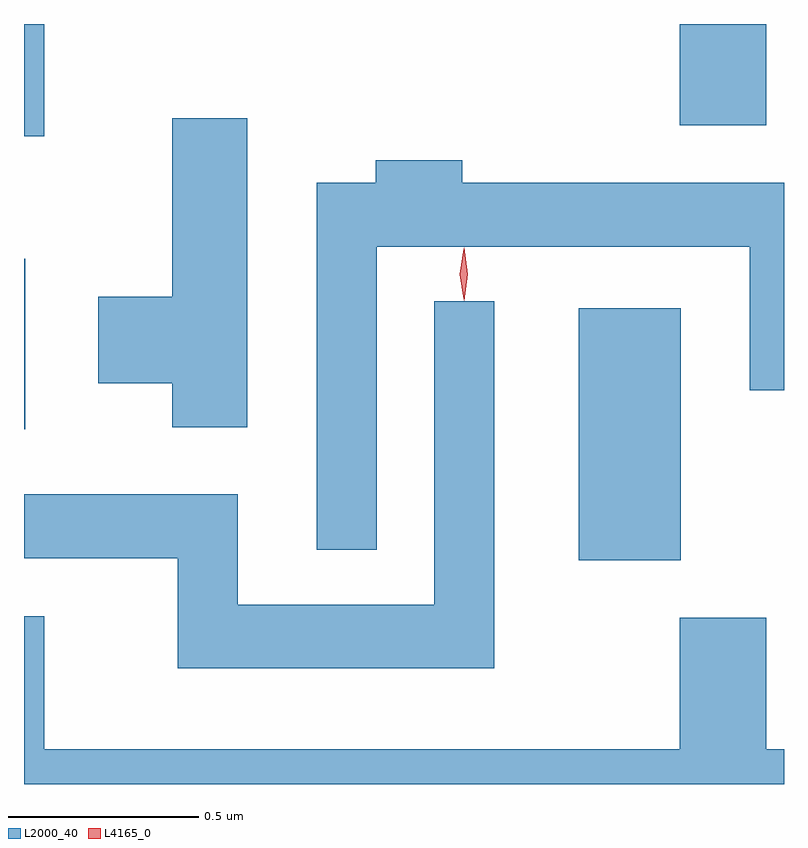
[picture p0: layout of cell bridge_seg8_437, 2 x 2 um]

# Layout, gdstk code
import gdstk
lib = gdstk.Library(unit=1e-6, precision=1e-09)
def R(c, l, rs):  # rectangles x0, y0, x1, y1
    for r in rs: c.add(gdstk.rectangle(r[:2], r[2:], *l))
def P(c, l, *ps):  # polygons
    for p in ps: c.add(gdstk.Polygon(p, *l))
L2000_40 = (2000, 40)
L4165_0 = (4165, 0)

bridge_seg8_437 = lib.new_cell('bridge_seg8_437')
R(bridge_seg8_437, L2000_40, [(862.016,1843.841,862.284,1844.504), (860.556,1844.186,860.559,1844.634), (860.556,1844.956,860.609,1845.252), (862.281,1844.986,862.509,1845.252)])
P(bridge_seg8_437, L2000_40, [(861.144,1845.004),(860.946,1845.004),(860.946,1844.534),(860.751,1844.534),(860.751,1844.306),(860.946,1844.306),(860.946,1844.191),(861.144,1844.191)],
  [(861.484,1844.666),(862.466,1844.666),(862.466,1844.288),(862.556,1844.288),(862.556,1844.834),(861.709,1844.834),(861.709,1844.894),(861.481,1844.894),(861.481,1844.834),(861.326,1844.834),(861.326,1843.868),(861.484,1843.868)],
  [(861.794,1844.523),(861.636,1844.523),(861.636,1843.724),(861.119,1843.724),(861.119,1844.014),(860.556,1844.014),(860.556,1843.846),(860.961,1843.846),(860.961,1843.556),(861.794,1843.556)],
  [(862.556,1843.344),(862.509,1843.344),(862.509,1843.689),(862.281,1843.689),(862.281,1843.344),(860.609,1843.344),(860.609,1843.694),(860.556,1843.694),(860.556,1843.252),(862.556,1843.252)])
P(bridge_seg8_437, L4165_0, [(861.714,1844.527),(861.713,1844.528),(861.703,1844.594),(861.713,1844.66),(861.713,1844.66),(861.714,1844.66),(861.724,1844.594),(861.714,1844.528)],
  [(861.714,1844.524),(861.714,1844.524),(861.704,1844.593),(861.714,1844.663),(861.714,1844.663),(861.715,1844.663),(861.724,1844.593),(861.715,1844.524)])

lib.write_gds('bridge_seg8_437.gds')
